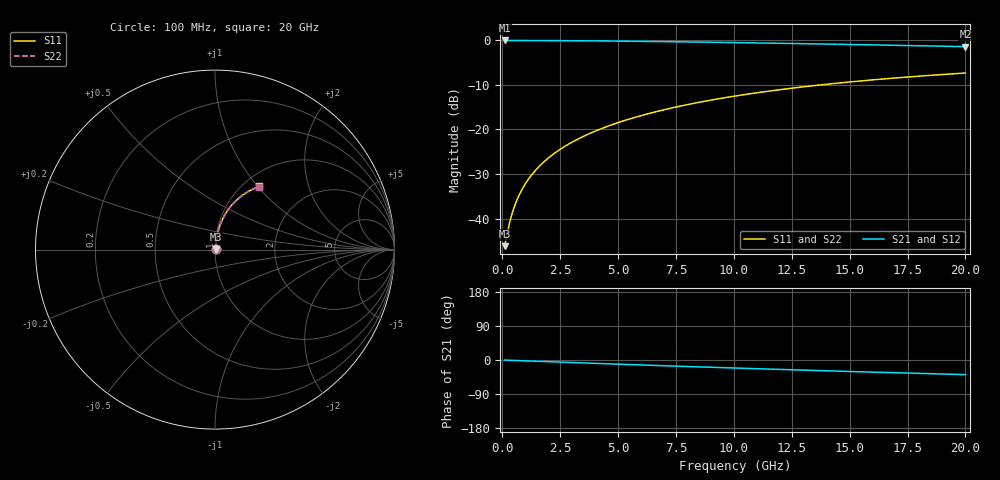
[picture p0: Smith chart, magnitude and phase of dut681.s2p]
! Touchstone file exported from HFSS 2024.1.0
!  File:  C:/UserFiles/LocalFiles/RDL_TSV_Batchsim/temp_RDL_top_681_1779782485.aedt
!  Generated:  04:03:53 PM May 26, 2026
!  Design:  RDL_top
!  Project:  temp_RDL_top_681_1779782485
!  Setup:  Setup1
!  Solution:  Sweep
! Variables:
!  dtsv = 10.80580581um
!  hbump = 3um
!  htsv = 98.58um
!  ldown = 100um
!  lrdl = 477.58um
!  p = 40
!  p1 = 51.42um
!  rhole = 1um
!  t = 450um
!  tdown = 3.915915916um
!  trdl = 2.79um
!  wdown = 15.38538539um
!  wrdl = 14.89um
# GHz S MA R 50.000000
! Terminal data exported
! Port[1] = Box2_T1
! Port[2] = Box2_T2
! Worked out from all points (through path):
!   200 points, 100 MHz to 20 GHz, reference 50 ohm
!   highest |S21| = -0.04 dB at 100 MHz (marker M1); lowest = -1.4 dB at 20 GHz (marker M2)
!   group delay of S21, straight-line fit = 5.35 ps
!   lowest |S11| = -46.2 dB at 100 MHz (marker M3), VSWR 1.01, Z = 50.4 + j0.252 ohm
!   |S11| at or under -10 dB: start of sweep to 13.76 GHz
!   |S22| runs from -46.2 to -7.3 dB; largest |S21 - S12| = 3.5e-15
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0.1  0.004913 30.6  0.9958 -0.2  0.9958 -0.2  0.004913 30.6
! Gamma 0 0 0 0
! Port Impedance 50 0 50 0
0.3  0.008658 59.3  0.9956 -0.7  0.9956 -0.7  0.008658 59.3
0.4  0.01087 65.2  0.9954 -0.9  0.9954 -0.9  0.01087 65.2
0.5  0.01315 69.0  0.9953 -1.1  0.9953 -1.1  0.01315 69.0
0.6  0.01544 71.6  0.9951 -1.4  0.9951 -1.4  0.01544 71.6
0.8  0.02005 75.0  0.9948 -1.8  0.9948 -1.8  0.02005 75.0
1.1  0.02701 77.8  0.9943 -2.5  0.9943 -2.5  0.02701 77.8
1.3  0.03168 79.0  0.9939 -2.9  0.9939 -2.9  0.03168 79.0
1.6  0.0387 80.0  0.9933 -3.6  0.9933 -3.6  0.0387 80.0
2.1  0.05046 80.9  0.9921 -4.7  0.9921 -4.7  0.05046 80.9
2.7  0.06465 81.2  0.9902 -6.0  0.9902 -6.0  0.06465 81.2
3.5  0.08365 80.9  0.9871 -7.8  0.9871 -7.8  0.08365 80.9
4.2  0.1003 80.3  0.9839 -9.3  0.9839 -9.3  0.1003 80.3
5  0.1194 79.4  0.9796 -11.0  0.9796 -11.0  0.1194 79.4
5.9  0.1408 78.2  0.9742 -12.9  0.9742 -12.9  0.1407 78.2
6.8  0.162 76.9  0.9682 -14.8  0.9682 -14.8  0.162 76.9
8.4  0.1994 74.3  0.9563 -18.0  0.9563 -18.0  0.1994 74.3
10.1  0.2381 71.5  0.9424 -21.3  0.9424 -21.3  0.2381 71.4
11.7  0.2732 68.7  0.9284 -24.4  0.9284 -24.4  0.2732 68.7
13.4  0.3089 65.8  0.9128 -27.5  0.9128 -27.5  0.3089 65.8
16.7  0.373 60.2  0.8814 -33.2  0.8814 -33.2  0.3729 60.2
20  0.4296 54.9  0.8494 -38.5  0.8494 -38.5  0.4295 54.9
